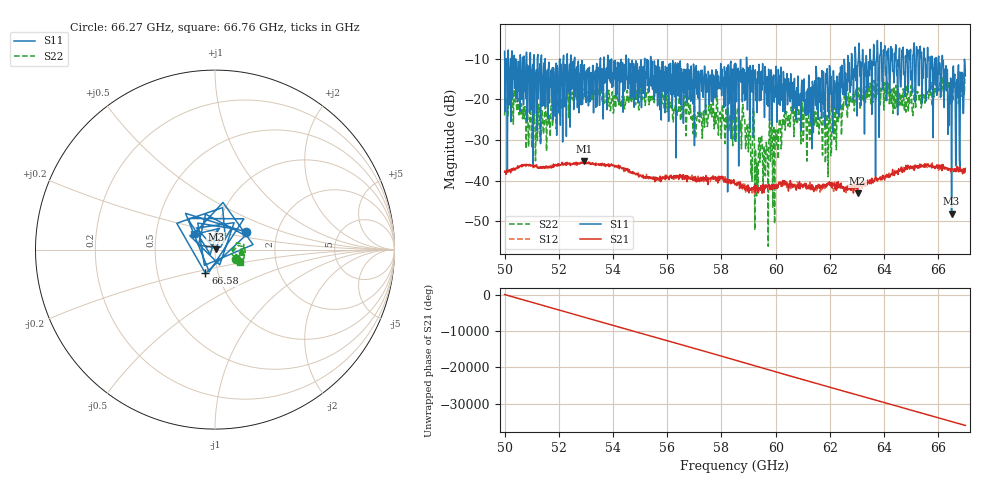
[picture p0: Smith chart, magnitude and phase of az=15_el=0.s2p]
!Created with skrf (http://scikit-rf.org).
# GHz S RI R 50.0
!freq ReS11 ImS11 ReS21 ImS21 ReS12 ImS12 ReS22 ImS22
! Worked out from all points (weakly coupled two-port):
!   1001 points, 50 GHz to 67 GHz, reference 50 ohm
!   highest |S21| = -35.26 dB at 52.94 GHz (marker M1); lowest = -43.1 dB at 63.02 GHz (marker M2)
!   lowest |S11| = -48.1 dB at 66.49 GHz (marker M3), VSWR 1.01, Z = 50.4 + j0.107 ohm
!   |S11| at or under -10 dB: 52.58 GHz to 53.53 GHz (949.2 MHz wide, 1.79 % of centre); 55.39 GHz to 58.92 GHz (3.533 GHz wide, 6.18 % of centre); 58.93 GHz to 62.66 GHz (3.736 GHz wide, 6.14 % of centre) (the widest 3 of 64)
!   |S22| runs from -56.1 to -13.2 dB; largest |S21 - S12| = 0.0024
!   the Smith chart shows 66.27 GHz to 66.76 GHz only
!   S11 on the Smith chart (normalised r, x): 66.27 GHz: 1.39, +0.28; 66.58 GHz: 0.87, -0.24; 66.76 GHz: 0.78, +0.14
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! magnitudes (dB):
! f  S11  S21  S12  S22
! 50 GHz  -8.2  -37.9  -37.7  -23.9
! 50.15 GHz  -21.4  -37.6  -37.3  -20.5
! 51.38 GHz  -21.7  -36.6  -36.8  -22.8
! 52.84 GHz  -12.1  -35.5  -35.6  -19.7
! 52.94 GHz  -11.4  -35.3  -35.7  -18.7
! 55.68 GHz  -13.3  -39.6  -39.7  -21.5
! 58.5 GHz  -30.2  -40.9  -41.0  -23.8
! 59.11 GHz  -13.0  -41.7  -42.4  -35.8
! 59.32 GHz  -23.2  -42.2  -41.7  -35.5
! 59.96 GHz  -16.8  -41.2  -41.1  -50.6
! 60.34 GHz  -14.9  -40.0  -40.8  -24.9
! 61.34 GHz  -32.2  -41.0  -41.5  -26.8
! 62 GHz  -12.2  -41.0  -41.1  -23.9
! 63.02 GHz  -12.5  -43.1  -42.0  -19.4
! 64.18 GHz  -12.1  -39.1  -38.1  -17.5
! 66.27 GHz  -14.0  -36.9  -36.9  -17.9
! 66.44 GHz  -21.0  -37.2  -36.8  -16.4
! 66.49 GHz  -48.1  -37.1  -37.2  -15.3
! 66.58 GHz  -16.9  -37.7  -37.3  -15.8
! 66.76 GHz  -16.7  -37.0  -37.8  -16.0
! 66.86 GHz  -17.9  -37.4  -37.1  -16.4
! 67 GHz  -14.2  -37.0  -37.8  -14.3
